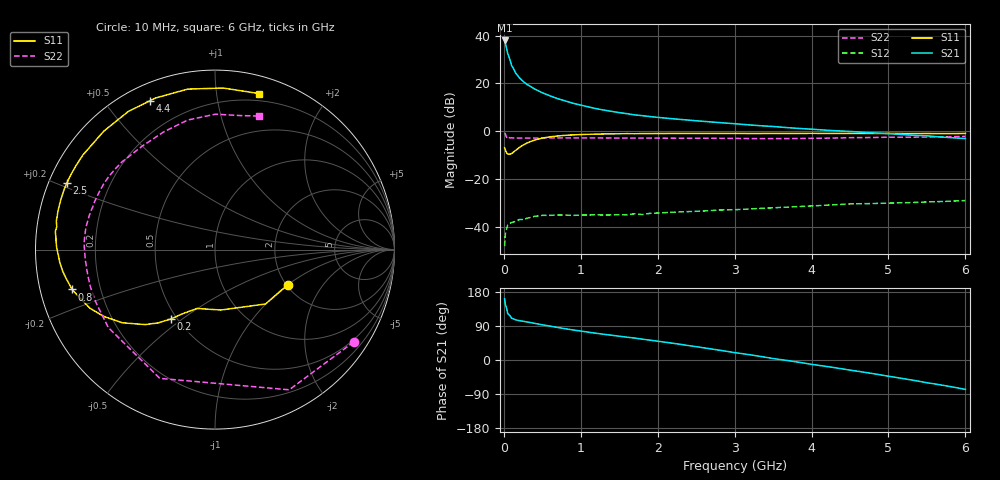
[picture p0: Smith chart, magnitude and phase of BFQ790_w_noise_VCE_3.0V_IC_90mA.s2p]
! Infineon Technologies  Discrete & RF Semiconductors
! BFQ790
! VCE =  3.0 V,  IC =  90 mA
! Common Emitter S-Parameters:  May 2015
# GHz  S  MA  R  50
!  f  S11  S21  S12  S22
! GHz  MAG  ANG  MAG  ANG  MAG  ANG  MAG  ANG
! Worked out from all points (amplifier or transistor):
!   77 points, 10 MHz to 6 GHz, reference 50 ohm
!   highest |S21| = 38.0 dB at 10 MHz (marker M1)
!   |S21| within 3 dB of that: start of sweep to 33.23 MHz
!   unconditionally stable (mu >= 1): 1.165 GHz to end of sweep
!   at 130 MHz: K = 0.70, MSG = 31.8 dB, |S12| = -37.8 dB
!   at 2.2 GHz: K = 1.20, MAG = 16.8 dB, |S12| = -33.8 dB
!   at 6 GHz: K = 1.30, MAG = 9.7 dB, |S12| = -28.9 dB
!   lowest NFmin = 2.52 dB at 1.5 GHz
!   S11 on the Smith chart (normalised r, x): 10 MHz: 2.04, -1.00; 200 MHz: 0.46, -0.45; 800 MHz: 0.10, -0.14; 2.5 GHz: 0.05, +0.21; 4.4 GHz: 0.07, +0.65; 6 GHz: 0.14, +1.31
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0.01  0.4514 -25.7  79.01 161.5  0.004 66.0  0.9289 -33.6
0.02  0.4136 -47.1  68.88 146.0  0.0072 54.3  0.8838 -62.1
0.05  0.3382 -84.4  42.11 122.2  0.0111 30.9  0.7806 -113.2
0.1  0.3428 -106.9  23.9 110.2  0.0125 20.4  0.7362 -143.9
0.15  0.3956 -116.2  16.86 106.2  0.0131 19.9  0.7261 -156.4
0.2  0.4582 -122.5  13.26 103.9  0.0144 17.7  0.7245 -163.2
0.25  0.517 -127.8  11.07 102.2  0.0144 17.3  0.7229 -167.5
0.3  0.5701 -132.9  9.551 100.4  0.0153 15.9  0.7228 -170.8
0.4  0.6579 -141.7  7.647 96.6  0.0168 14.5  0.7249 -175.5
0.5  0.7219 -148.9  6.39 92.9  0.0176 9.9  0.7262 -178.9
0.6  0.7691 -154.8  5.508 89.4  0.0176 9.3  0.7293 178.3
0.7  0.7984 -160.2  4.809 85.8  0.0179 9.3  0.7298 176.0
0.8  0.8266 -164.4  4.302 82.5  0.0179 5.3  0.7292 174.1
1.1  0.8676 -175.2  3.232 73.4  0.0179 5.4  0.7285 169.0
1.5  0.8891 175.4  2.46 62.8  0.0181 3.5  0.7239 163.5
2.1  0.9015 164.2  1.89 46.9  0.0201 0.7  0.7203 154.9
2.5  0.9044 155.9  1.663 35.2  0.0214 -2.2  0.7187 147.6
3.1  0.9025 142.2  1.399 16.7  0.0235 -8.1  0.7085 134.5
4.1  0.9061 119.9  1.08 -14.3  0.0282 -19.7  0.7174 111.2
4.4  0.9051 113.5  1.012 -23.4  0.0299 -23.9  0.7308 104.2
5.1  0.9025 97.2  0.874 -46.0  0.032 -37.1  0.7535 87.7
6  0.9034 74.3  0.708 -77.6  0.0359 -55.6  0.7835 71.7
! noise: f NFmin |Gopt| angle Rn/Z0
0.45  3.79  0.38  129  0.39
0.9  2.73  0.52  163  0.14
1.5  2.52  0.64  -176  0.07
1.8  2.64  0.67  -170  0.08
2.6  3.12  0.72  -153  0.19
3.5  3.78  0.82  -137  0.46
